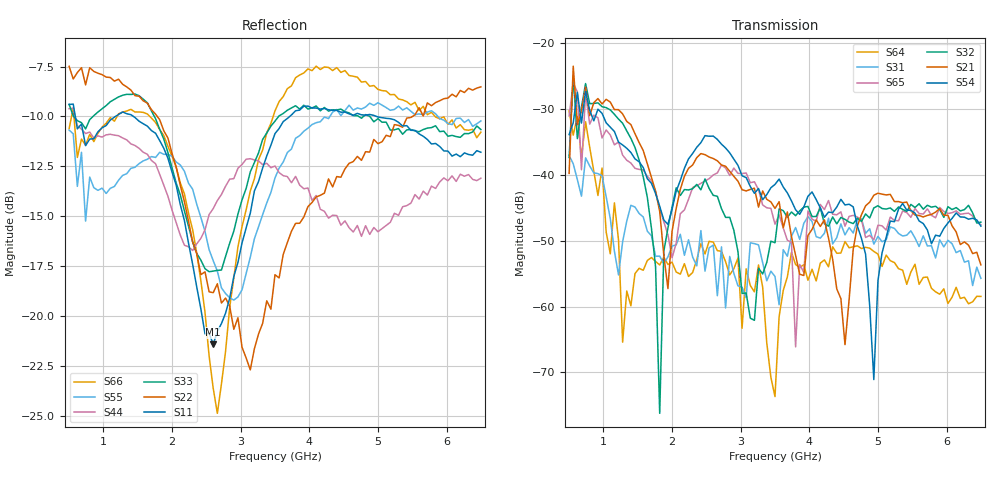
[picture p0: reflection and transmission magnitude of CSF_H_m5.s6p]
!Keysight Technologies,M9804A,MY58100912,A.14.10.03
!Date: Thursday, April 27, 2023 10:28:33
!Correction: S11(C  6-Port  )
!S12(C  6-Port  )
!S13(C  6-Port  )
!S14(C  6-Port  )
!S15(C  6-Port  )
!S16(C  6-Port  )
!S21(C  6-Port  )
!S22(C  6-Port  )
!S23(C  6-Port  )
!S24(C  6-Port  )
!S25(C  6-Port  )
!S26(C  6-Port  )
!S31(C  6-Port  )
!S32(C  6-Port  )
!S33(C  6-Port  )
!S34(C  6-Port  )
!S35(C  6-Port  )
!S36(C  6-Port  )
!S41(C  6-Port  )
!S42(C  6-Port  )
!S43(C  6-Port  )
!S44(C  6-Port  )
!S45(C  6-Port  )
!S46(C  6-Port  )
!S51(C  6-Port  )
!S52(C  6-Port  )
!S53(C  6-Port  )
!S54(C  6-Port  )
!S55(C  6-Port  )
!S56(C  6-Port  )
!S61(C  6-Port  )
!S62(C  6-Port  )
!S63(C  6-Port  )
!S64(C  6-Port  )
!S65(C  6-Port  )
!S66(C  6-Port  )
!S6P File: Measurement: :
# Hz S  RI  R 50
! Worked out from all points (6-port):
!   101 points, 500 MHz to 6.5 GHz, reference 50 ohm
!   strongest paths, dB at 500 MHz, 2 GHz, 3.5 GHz, 5 GHz, 6.5 GHz:
!     S54: -33.9, -45.2, -41.4, -56.1, -47.8
!     S21: -39.7, -48.5, -45.1, -42.8, -53.7
!     S32: -37.3, -44.9, -50.3, -44.7, -47.2
!     S65: -31.0, -52.6, -47.5, -47.6, -47.6
!     S31: -37.0, -50.8, -55.4, -49.3, -55.7
!     S64: -30.2, -53.2, -73.7, -52.0, -58.5
!   lowest |S11| = -21.4 dB at 2.6 GHz (marker M1), VSWR 1.19, Z = 42.5 + j2.17 ohm
!   |S11| at or under -10 dB: 589.9 MHz to 1.176 GHz (585.8 MHz wide, 66.4 % of centre); 1.437 GHz to 3.715 GHz (2.277 GHz wide, 88.4 % of centre); 4.979 GHz to end of sweep
